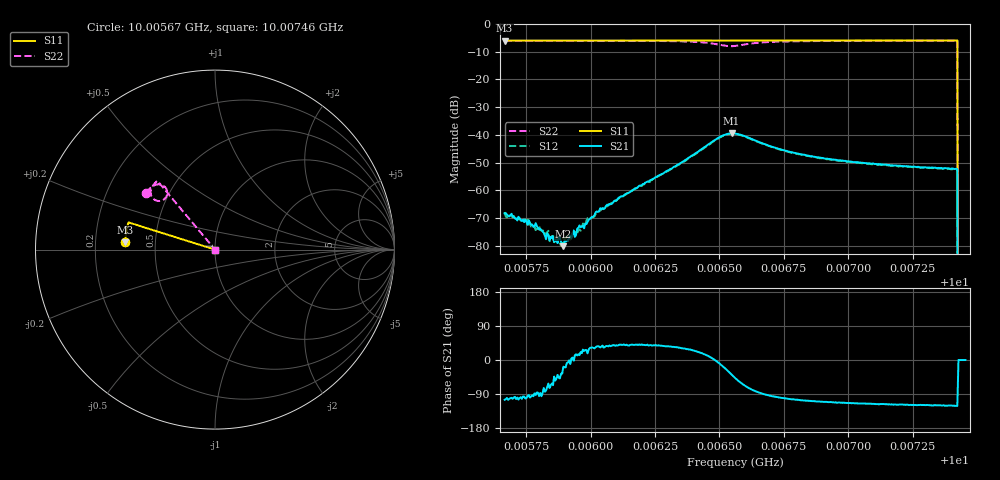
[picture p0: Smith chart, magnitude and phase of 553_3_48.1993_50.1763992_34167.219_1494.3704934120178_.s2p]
#  HZ  S  RI  R  50.00
! Rohde & Schwarz Vector Network Analyzer
! Rohde-Schwarz,ZNB20-2Port,1311601062101988,3.16
! Created: UTC 3/20/2024, 12:00:53 PM
! freq[Hz]  re:S11  im:S11  re:S21  im:S21  re:S12  im:S12  re:S22  im:S22
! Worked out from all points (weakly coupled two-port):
!   401 points, 10.00567 GHz to 10.00746 GHz, reference 50 ohm
!   highest |S21| = -39.47 dB at 10.00655 GHz (marker M1); lowest = -80.2 dB at 10.00589 GHz (marker M2)
!   lowest |S11| = -6.0 dB at 10.00567 GHz (marker M3), VSWR 3.01, Z = 16.6 + j1.76 ohm
!   |S11| at or under -10 dB: 10.00742 GHz to end of sweep
!   |S22| runs from - to -6.0 dB; largest |S21 - S12| = 0.00072
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1.0005666e10  -0.5001 0.0396  -9.84e-05 -0.000371  -6.43e-05 -0.0004  -0.3837 0.316
1.0005746e10  -0.4998 0.045  -5.92e-05 -0.000289  -8.5e-06 -0.000281  -0.38 0.321
1.0005795e10  -0.4997 0.048  1.31e-05 -0.000209  1.47e-05 -0.000197  -0.3775 0.3237
1.0005827e10  -0.4995 0.0501  2.24e-05 -0.000129  2.73e-05 -0.000159  -0.376 0.3259
1.0005849e10  -0.4992 0.0515  6.48e-05 -0.000122  6.24e-05 -0.000136  -0.3747 0.3273
1.0005858e10  -0.4993 0.0523  8.43e-05 -8.08e-05  6.7e-05 -8.66e-05  -0.3743 0.3278
1.000588e10  -0.4991 0.0536  9.27e-05 -0.000105  7.93e-05 -7.6e-05  -0.373 0.3292
1.0005894e10  -0.4991 0.0545  9.34e-05 -2.97e-05  0.000123 -5.67e-05  -0.3723 0.3301
1.0005903e10  -0.499 0.0551  0.000111 -3.9e-05  0.000134 -2.75e-05  -0.3718 0.3307
1.0005965e10  -0.4987 0.0591  0.000212 7.02e-05  0.000189 0.000104  -0.3681 0.3348
1.0005992e10  -0.4985 0.0608  0.000259 0.000136  0.000265 0.000176  -0.3664 0.3365
1.0006046e10  -0.4982 0.0643  0.000377 0.000294  0.00036 0.0003  -0.3628 0.3401
1.0006265e10  -0.4966 0.0784  0.00145 0.00115  0.0014 0.00115  -0.3415 0.3565
1.0006498e10  -0.4936 0.0936  0.00885 -0.00122  0.00869 -0.000677  -0.2671 0.329
1.0006547e10  -0.4931 0.096  0.0083 -0.00665  0.00855 -0.00598  -0.2818 0.2814
1.000656e10  -0.4929 0.0967  0.00714 -0.00774  0.00748 -0.00716  -0.2944 0.2738
1.0006735e10  -0.492 0.1078  -0.000887 -0.00545  -0.000598 -0.0054  -0.3584 0.3216
1.000686e10  -0.4905 0.1159  -0.00131 -0.00389  -0.00106 -0.00388  -0.3529 0.3431
1.000716e10  -0.4862 0.135  -0.00129 -0.00255  -0.00113 -0.00255  -0.3359 0.3691
1.0007415e10  -0.4822 0.1509  -0.00125 -0.00207  -0.0011 -0.00212  -0.3222 0.3839
1.0007437e10  0 0  0 0  0 0  0 0
1.0007455e10  0 0  0 0  0 0  0 0
